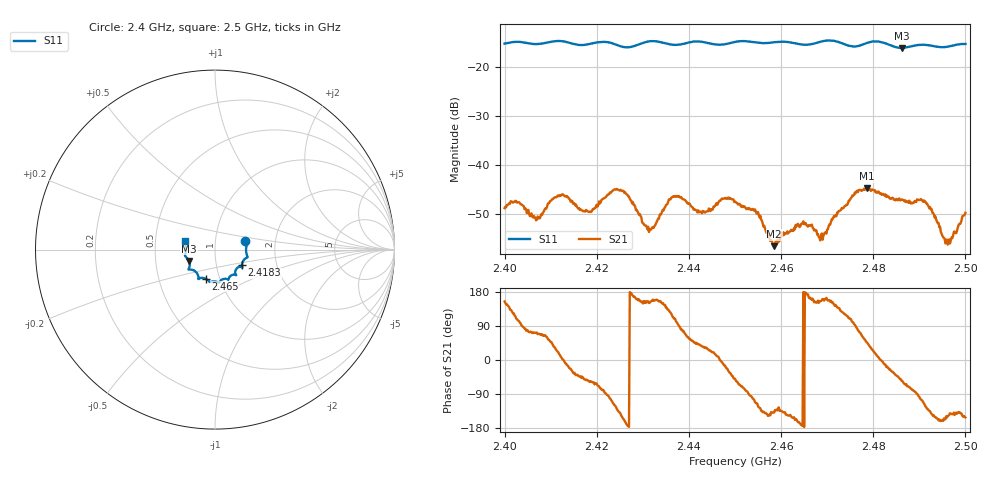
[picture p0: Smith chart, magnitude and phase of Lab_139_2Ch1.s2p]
# Hz S RI R 50
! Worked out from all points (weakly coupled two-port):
!   601 points, 2.4 GHz to 2.5 GHz, reference 50 ohm
!   highest |S21| = -44.85 dB at 2.4787 GHz (marker M1); lowest = -56.7 dB at 2.4585 GHz (marker M2)
!   lowest |S11| = -16.0 dB at 2.4862 GHz (marker M3), VSWR 1.38, Z = 37.1 - j4.8 ohm
!   |S11| at or under -10 dB: start of sweep to end of sweep
!   S12 and S22 are empty: the file has one direction only
!   S11 on the Smith chart (normalised r, x): 2.4 GHz: 1.40, +0.13; 2.4183 GHz: 1.33, -0.24; 2.465 GHz: 0.86, -0.29; 2.5 GHz: 0.71, +0.07
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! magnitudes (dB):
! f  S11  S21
! 2.4 GHz  -15.1  -48.9
! 2.4072 GHz  -15.2  -50.6
! 2.4125 GHz  -14.6  -46.1
! 2.4167 GHz  -15.4  -49.3
! 2.4183 GHz  -15.2  -49.7
! 2.4243 GHz  -15.4  -44.9
! 2.4313 GHz  -14.7  -53.8
! 2.4333 GHz  -14.7  -51.0
! 2.4367 GHz  -15.4  -46.4
! 2.4423 GHz  -14.7  -49.6
! 2.45 GHz  -14.8  -47.5
! 2.4547 GHz  -14.9  -50.0
! 2.4585 GHz  -14.9  -56.7
! 2.465 GHz  -15.4  -52.2
! 2.4667 GHz  -15.2  -52.3
! 2.4688 GHz  -14.7  -54.1
! 2.4787 GHz  -15.0  -44.8
! 2.4833 GHz  -15.3  -46.5
! 2.4862 GHz  -16.0  -47.2
! 2.4915 GHz  -15.4  -47.9
! 2.4962 GHz  -15.8  -56.4
! 2.5 GHz  -15.2  -49.8
